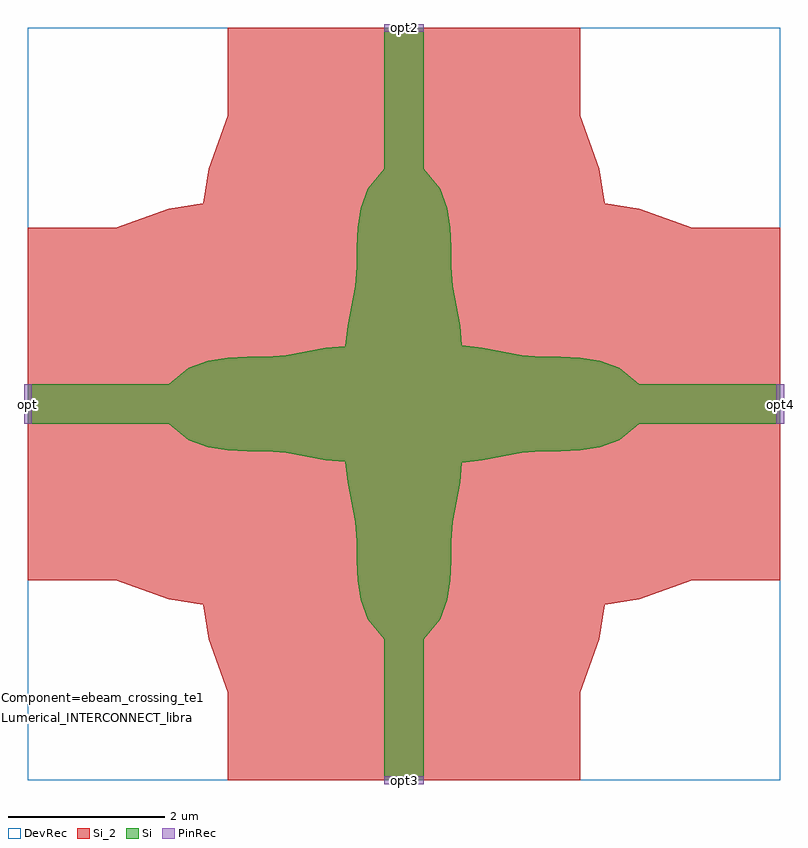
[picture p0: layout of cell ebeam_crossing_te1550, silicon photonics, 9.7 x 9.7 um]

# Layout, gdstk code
import gdstk
lib = gdstk.Library(unit=1e-6, precision=1e-09)
def R(c, l, rs):  # rectangles x0, y0, x1, y1
    for r in rs: c.add(gdstk.rectangle(r[:2], r[2:], *l))
def P(c, l, *ps):  # polygons
    for p in ps: c.add(gdstk.Polygon(p, *l))
Si = (1, 0)
Si_2 = (1, 2)
PinRec = (1, 10)
DevRec = (68, 0)

ebeam_crossing_te1550 = lib.new_cell('ebeam_crossing_te1550')
P(ebeam_crossing_te1550, Si, [(-0.25,-4.8),(-0.25,-3),(-0.46,-2.75),(-0.55,-2.5),(-0.59,-2.25),(-0.6,-2),(-0.6,-1.75),(-0.62,-1.5),(-0.72,-1),(-0.75,-0.74),(-1,-0.72),(-1.5,-0.62),(-1.75,-0.6),(-2,-0.6),(-2.25,-0.59),(-2.5,-0.55),(-2.75,-0.46),(-3,-0.25),(-4.8,-0.25),(-4.8,0.25),(-3,0.25),(-2.75,0.46),(-2.5,0.55),(-2.25,0.59),(-2,0.6),(-1.75,0.6),(-1.5,0.62),(-1,0.72),(-0.75,0.74),(-0.72,1),(-0.62,1.5),(-0.6,1.75),(-0.6,2),(-0.59,2.25),(-0.55,2.5),(-0.46,2.75),(-0.25,3),(-0.25,4.8),(0.25,4.8),(0.25,3),(0.46,2.75),(0.55,2.5),(0.59,2.25),(0.6,2),(0.6,1.75),(0.62,1.5),(0.72,1),(0.74,0.75),(1,0.72),(1.5,0.62),(1.75,0.6),(2,0.6),(2.25,0.59),(2.5,0.55),(2.75,0.46),(3,0.25),(4.8,0.25),(4.8,-0.25),(3,-0.25),(2.75,-0.46),(2.5,-0.55),(2.25,-0.59),(2,-0.6),(1.75,-0.6),(1.5,-0.62),(1,-0.72),(0.74,-0.75),(0.72,-1),(0.62,-1.5),(0.6,-1.75),(0.6,-2),(0.59,-2.25),(0.55,-2.5),(0.46,-2.75),(0.25,-3),(0.25,-4.8)])
P(ebeam_crossing_te1550, Si_2, [(-2.25,-4.8),(-2.25,-3.682),(-2.495,-3.001),(-2.565,-2.565),(-3.001,-2.495),(-3.682,-2.25),(-4.8,-2.25),(-4.8,2.25),(-3.682,2.25),(-3.001,2.495),(-2.565,2.565),(-2.495,3.001),(-2.25,3.682),(-2.25,4.8),(2.25,4.8),(2.25,3.682),(2.495,3.001),(2.565,2.565),(3.001,2.495),(3.682,2.25),(4.8,2.25),(4.8,-2.25),(3.682,-2.25),(3.001,-2.495),(2.565,-2.565),(2.495,-3.001),(2.25,-3.682),(2.25,-4.8)])
R(ebeam_crossing_te1550, DevRec, [(-4.8,-4.8,4.8,4.8)])
ebeam_crossing_te1550.add(gdstk.FlexPath([(-4.75,0),(-4.85,0)], 0.5, ends="flush", simple_path=True, layer=1, datatype=10))  # PinRec
ebeam_crossing_te1550.add(gdstk.FlexPath([(4.75,0),(4.85,0)], 0.5, ends="flush", simple_path=True, layer=1, datatype=10))  # PinRec
ebeam_crossing_te1550.add(gdstk.FlexPath([(0,-4.75),(0,-4.85)], 0.5, ends="flush", simple_path=True, layer=1, datatype=10))  # PinRec
ebeam_crossing_te1550.add(gdstk.FlexPath([(0,4.75),(0,4.85)], 0.5, ends="flush", simple_path=True, layer=1, datatype=10))  # PinRec
ebeam_crossing_te1550.add(gdstk.Label('opt4', (4.8,0), layer=1, texttype=10))
ebeam_crossing_te1550.add(gdstk.Label('opt2', (0,4.8), layer=1, texttype=10))
ebeam_crossing_te1550.add(gdstk.Label('opt', (-4.8,0), layer=1, texttype=10))
ebeam_crossing_te1550.add(gdstk.Label('opt3', (0,-4.8), layer=1, texttype=10))
ebeam_crossing_te1550.add(gdstk.Label('Component=ebeam_crossing_te1550', (-4,-3.74), layer=68, texttype=0))
ebeam_crossing_te1550.add(gdstk.Label('Lumerical_INTERCONNECT_library=Design kits/SiEPICfab_EBeam', (-4,-4), layer=68, texttype=0))

lib.write_gds('ebeam_crossing_te1550.gds')
